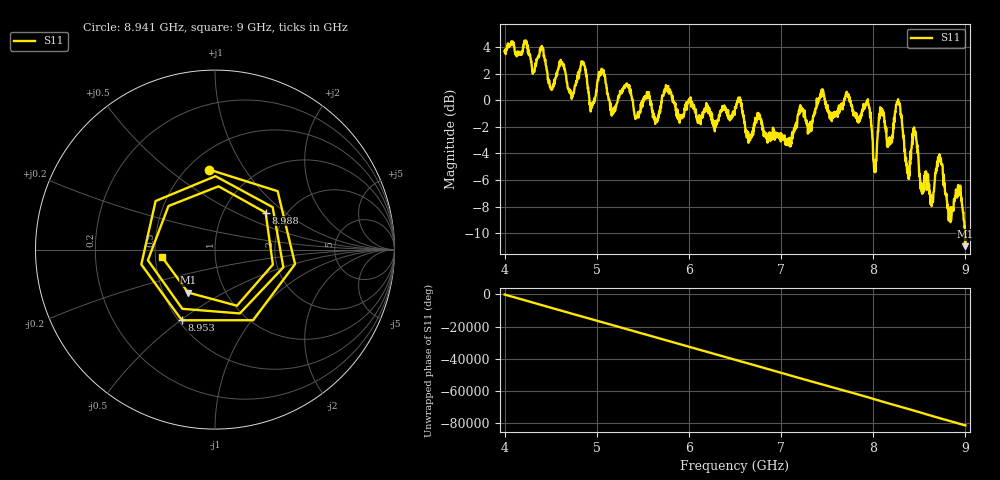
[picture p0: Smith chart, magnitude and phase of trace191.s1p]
! Created with skrf 1.8.0 (http://scikit-rf.org).
# Hz S RI R 50.0
!freq ReS11 ImS11
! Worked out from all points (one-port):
!   1601 points, 4 GHz to 9 GHz, reference 50 ohm
!   lowest |S11| = -11.0 dB at 8.997 GHz (marker M1), VSWR 1.79, Z = 33.3 - j17.3 ohm
!   |S11| at or under -10 dB: 8.995038 GHz to end of sweep
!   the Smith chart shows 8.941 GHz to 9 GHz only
!   S11 on the Smith chart (normalised r, x): 8.941 GHz: 0.64, +0.71; 8.953 GHz: 0.52, -0.51; 8.988 GHz: 1.57, +0.74; 9 GHz: 0.54, -0.05
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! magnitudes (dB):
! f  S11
! 4 GHz  3.7
! 4.406 GHz  3.9
! 4.509 GHz  0.8
! 4.625 GHz  2.8
! 4.853 GHz  2.7
! 4.947 GHz  -0.6
! 5.05 GHz  2.2
! 5.25 GHz  0.5
! 5.875 GHz  -0.7
! 6.5 GHz  -0.5
! 7.125 GHz  -2.9
! 7.75 GHz  -0.1
! 7.944 GHz  -0.3
! 8.019 GHz  -5.2
! 8.084 GHz  -0.9
! 8.175 GHz  -3.3
! 8.269 GHz  0.1
! 8.375 GHz  -5.0
! 8.447 GHz  -2.4
! 8.525 GHz  -6.8
! 8.638 GHz  -7.7
! 8.719 GHz  -4.2
! 8.825 GHz  -8.5
! 8.941 GHz  -7.0
! 8.953 GHz  -7.2
! 8.988 GHz  -9.1
! 8.997 GHz  -11.0
! 9 GHz  -10.5
